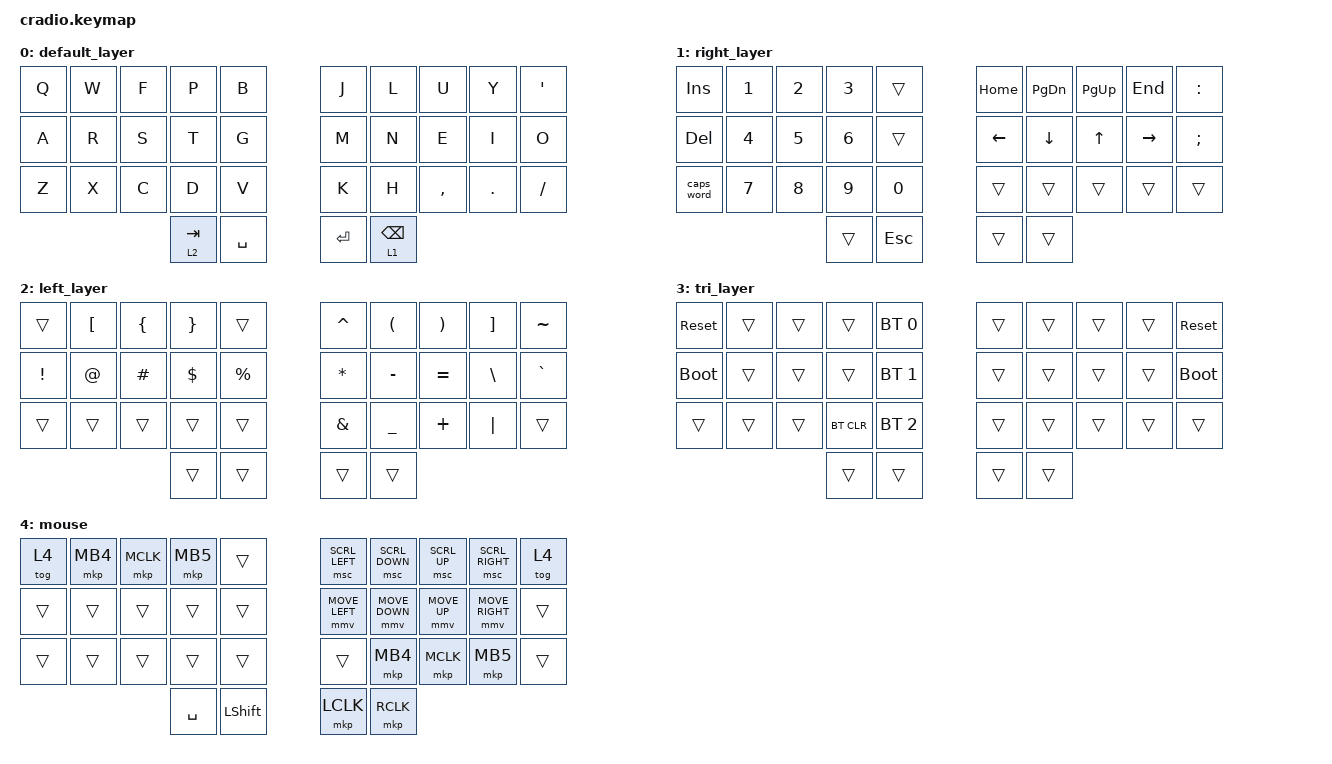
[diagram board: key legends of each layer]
// Copyright (c) 2022 The ZMK Contributors
// SPDX-License-Identifier: MIT

#define ZMK_MOUSE_DEFAULT_MOVE_VAL 2500  // 600
#define ZMK_MOUSE_DEFAULT_SCRL_VAL 20    // 10

#include <behaviors.dtsi>
#include <dt-bindings/zmk/bt.h>
#include <dt-bindings/zmk/keys.h>
#include <dt-bindings/zmk/mouse.h>

// Home row mods macro

#define HRML(k1,k2,k3,k4) &ht LSHFT k1  &ht LALT k2  &ht LCTRL k3  &ht LGUI k4
#define HRMR(k1,k2,k3,k4) &ht RGUI k1  &ht RCTRL k2  &ht RALT k3  &ht RSHFT k4

/ {
    behaviors {
        ht: hold_tap {
            compatible = "zmk,behavior-hold-tap";
            #binding-cells = <2>;
            flavor = "tap-preferred";
            tapping-term-ms = <220>;
            quick-tap-ms = <150>;
            require-prior-idle-ms = <100>;
            bindings = <&kp>, <&kp>;
        };

        mmv {
            acceleration-exponent = <1>;      // 1
            time-to-max-speed-ms = <300>;    // 40
            delay-ms = <0>;                   // 0
        };

        msc {
            acceleration-exponent = <0>;      // 0
            time-to-max-speed-ms = <40>;      // 500
            delay-ms = <0>;                   // 10
        };
    };

    conditional_layers {
        compatible = "zmk,conditional-layers";

        tri_layer {
            if-layers = <1 2>;
            then-layer = <3>;
        };
    };

    keymap {
        compatible = "zmk,keymap";

        default_layer {
            bindings = <
&kp Q  &kp W  &kp F  &kp P      &kp B        &kp J      &kp L       &kp U      &kp Y    &kp SQT
&kp A  &kp R  &kp S  &kp T      &kp G        &kp M      &kp N       &kp E      &kp I    &kp O
&kp Z  &kp X  &kp C  &kp D      &kp V        &kp K      &kp H       &kp COMMA  &kp DOT  &kp FSLH
                     &lt 2 TAB  &kp SPACE    &kp ENTER  &lt 1 BSPC
            >;
        };

        right_layer {
            bindings = <
&kp INS     &kp N1  &kp N2  &kp N3  &trans     &kp HOME  &kp PG_DN  &kp PG_UP  &kp END    &kp COLON
&kp DEL     &kp N4  &kp N5  &kp N6  &trans     &kp LEFT  &kp DOWN   &kp UP     &kp RIGHT  &kp SEMI
&caps_word  &kp N7  &kp N8  &kp N9  &kp N0     &trans    &trans     &trans     &trans     &trans
                            &trans  &kp ESC    &trans    &trans
            >;
        };

        left_layer {
            bindings = <
&trans    &kp LBKT  &kp LBRC  &kp RBRC  &trans       &kp CARET  &kp LPAR   &kp RPAR   &kp RBKT  &kp TILDE
&kp EXCL  &kp AT    &kp HASH  &kp DLLR  &kp PRCNT    &kp ASTRK  &kp MINUS  &kp EQUAL  &kp BSLH  &kp GRAVE
&trans    &trans    &trans    &trans    &trans       &kp AMPS   &kp UNDER  &kp PLUS   &kp PIPE  &trans
                              &trans    &trans       &trans     &trans
            >;
        };

        tri_layer {
            bindings = <
&sys_reset   &trans  &trans  &trans      &bt BT_SEL 0    &trans  &trans  &trans  &trans  &sys_reset
&bootloader  &trans  &trans  &trans      &bt BT_SEL 1    &trans  &trans  &trans  &trans  &bootloader
&trans       &trans  &trans  &bt BT_CLR  &bt BT_SEL 2    &trans  &trans  &trans  &trans  &trans
                             &trans      &trans          &trans  &trans
            >;
        };

        mouse {
            bindings = <
&tog 4  &mkp MB4  &mkp MCLK  &mkp MB5   &trans        &msc SCRL_LEFT  &msc SCRL_DOWN  &msc SCRL_UP  &msc SCRL_RIGHT  &tog 4
&trans  &trans    &trans     &trans     &trans        &mmv MOVE_LEFT  &mmv MOVE_DOWN  &mmv MOVE_UP  &mmv MOVE_RIGHT  &trans
&trans  &trans    &trans     &trans     &trans        &trans          &mkp MB4        &mkp MCLK     &mkp MB5         &trans
                             &kp SPACE  &kp LSHIFT    &mkp LCLK       &mkp RCLK
            >;
        };
    };
};
